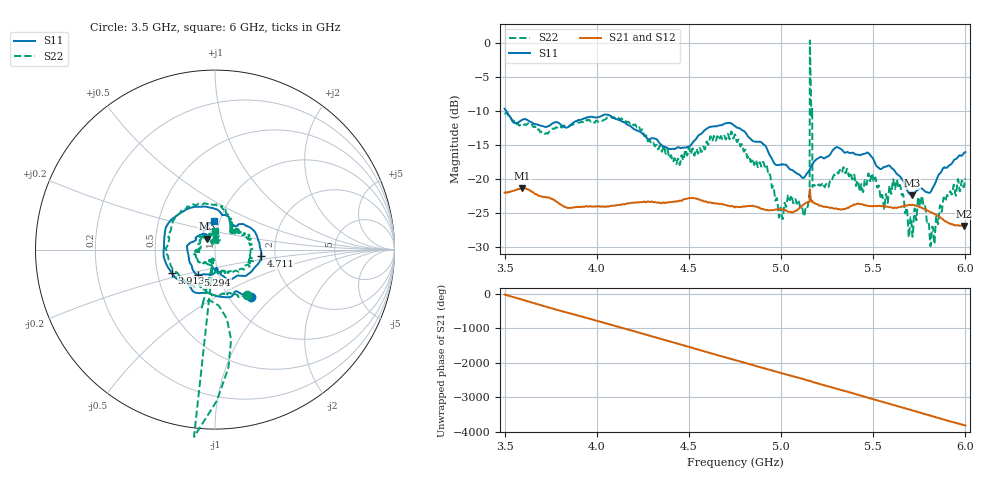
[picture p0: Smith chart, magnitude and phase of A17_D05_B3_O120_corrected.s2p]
! Created with skrf 1.9.0 (http://scikit-rf.org).
# Hz S RI R 50.0
!freq ReS11 ImS11 ReS21 ImS21 ReS12 ImS12 ReS22 ImS22
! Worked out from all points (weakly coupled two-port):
!   1601 points, 3.5 GHz to 6 GHz, reference 50 ohm
!   highest |S21| = -21.29 dB at 3.595 GHz (marker M1); lowest = -26.9 dB at 5.994 GHz (marker M2)
!   lowest |S11| = -22.3 dB at 5.711 GHz (marker M3), VSWR 1.17, Z = 45.2 + j5.53 ohm
!   |S11| at or under -10 dB: 3.51 GHz to end of sweep
!   |S22| runs from -29.8 to 0.4 dB; largest |S21 - S12| = 0.0009
!   S11 on the Smith chart (normalised r, x): 3.5 GHz: 1.26, -0.74; 3.913 GHz: 0.59, -0.17; 4.711 GHz: 1.68, -0.13; 5.294 GHz: 0.79, -0.23; 6 GHz: 0.94, +0.31
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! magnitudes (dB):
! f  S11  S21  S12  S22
! 3.5 GHz  -9.6  -21.9  -21.9  -10.3
! 3.595 GHz  -11.2  -21.3  -21.3  -12.0
! 3.913 GHz  -11.2  -24.1  -24.0  -11.6
! 3.917 GHz  -11.2  -24.1  -24.0  -11.5
! 4.334 GHz  -14.4  -23.4  -23.4  -15.6
! 4.441 GHz  -15.3  -23.2  -23.2  -17.0
! 4.711 GHz  -11.7  -23.9  -23.8  -13.3
! 4.75 GHz  -12.2  -24.1  -24.0  -13.4
! 4.914 GHz  -15.1  -24.5  -24.5  -18.1
! 4.998 GHz  -17.8  -24.4  -24.4  -24.2
! 5.136 GHz  -19.3  -23.4  -23.4  -24.1
! 5.156 GHz  -18.5  -21.5  -21.4  0.4
! 5.167 GHz  -17.9  -23.1  -23.1  -10.5
! 5.183 GHz  -17.3  -23.5  -23.5  -20.8
! 5.294 GHz  -15.4  -24.3  -24.3  -19.3
! 5.584 GHz  -18.0  -24.1  -24.1  -21.6
! 5.636 GHz  -19.4  -24.1  -24.0  -21.2
! 5.711 GHz  -22.3  -23.8  -23.7  -27.9
! 5.756 GHz  -21.3  -24.1  -24.1  -23.8
! 5.822 GHz  -21.3  -24.9  -24.9  -26.9
! 5.994 GHz  -16.1  -26.9  -26.8  -20.8
! 6 GHz  -16.0  -26.8  -26.8  -19.9
